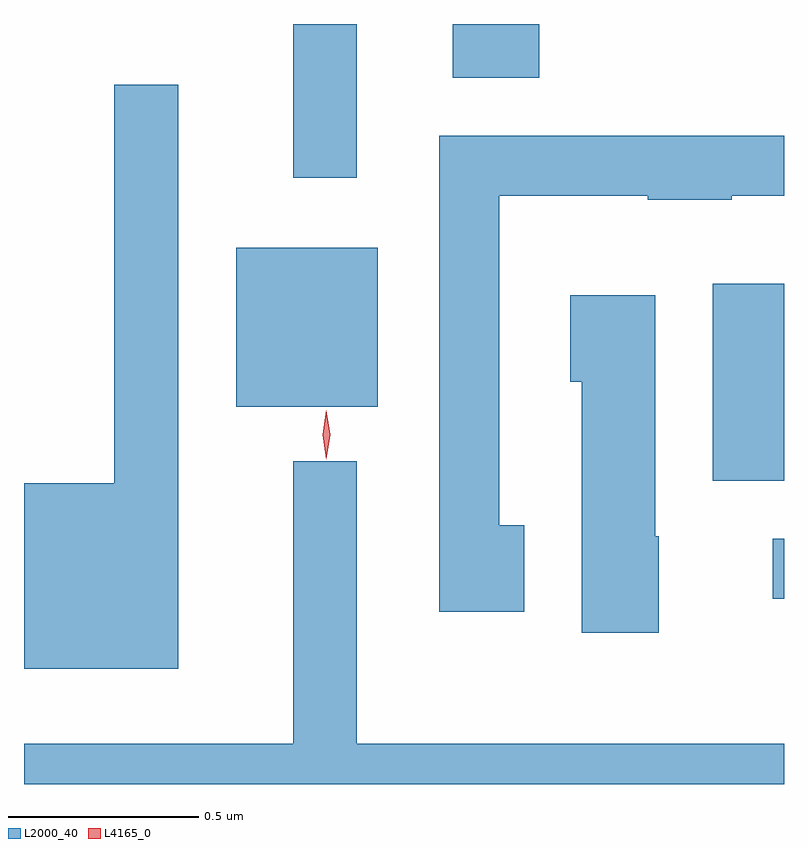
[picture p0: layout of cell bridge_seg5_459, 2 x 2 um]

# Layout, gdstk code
import gdstk
lib = gdstk.Library(unit=1e-6, precision=1e-09)
def R(c, l, rs):  # rectangles x0, y0, x1, y1
    for r in rs: c.add(gdstk.rectangle(r[:2], r[2:], *l))
def P(c, l, *ps):  # polygons
    for p in ps: c.add(gdstk.Polygon(p, *l))
L2000_40 = (2000, 40)
L4165_0 = (4165, 0)

bridge_seg5_459 = lib.new_cell('bridge_seg5_459')
R(bridge_seg5_459, L2000_40, [(310.513,1492.966,310.543,1493.124), (310.356,1493.276,310.543,1493.794), (309.101,1493.471,309.474,1493.889), (309.251,1494.073,309.419,1494.478), (309.671,1494.336,309.899,1494.478)])
P(bridge_seg5_459, L2000_40, [(308.949,1494.318),(308.781,1494.318),(308.781,1493.269),(308.543,1493.269),(308.543,1492.781),(308.949,1492.781)],
  [(309.859,1493.159),(309.794,1493.159),(309.794,1494.026),(310.185,1494.026),(310.185,1494.016),(310.405,1494.016),(310.405,1494.026),(310.543,1494.026),(310.543,1494.184),(309.636,1494.184),(309.636,1492.931),(309.859,1492.931)],
  [(310.214,1493.13),(310.204,1493.13),(310.204,1493.764),(309.981,1493.764),(309.981,1493.536),(310.011,1493.536),(310.011,1492.876),(310.214,1492.876)],
  [(310.543,1492.584),(309.419,1492.584),(309.419,1493.328),(309.251,1493.328),(309.251,1492.584),(308.543,1492.584),(308.543,1492.478),(310.543,1492.478)])
P(bridge_seg5_459, L4165_0, [(309.339,1493.332),(309.338,1493.333),(309.329,1493.397),(309.338,1493.461),(309.339,1493.462),(309.339,1493.461),(309.349,1493.397),(309.339,1493.333)])

lib.write_gds('bridge_seg5_459.gds')
